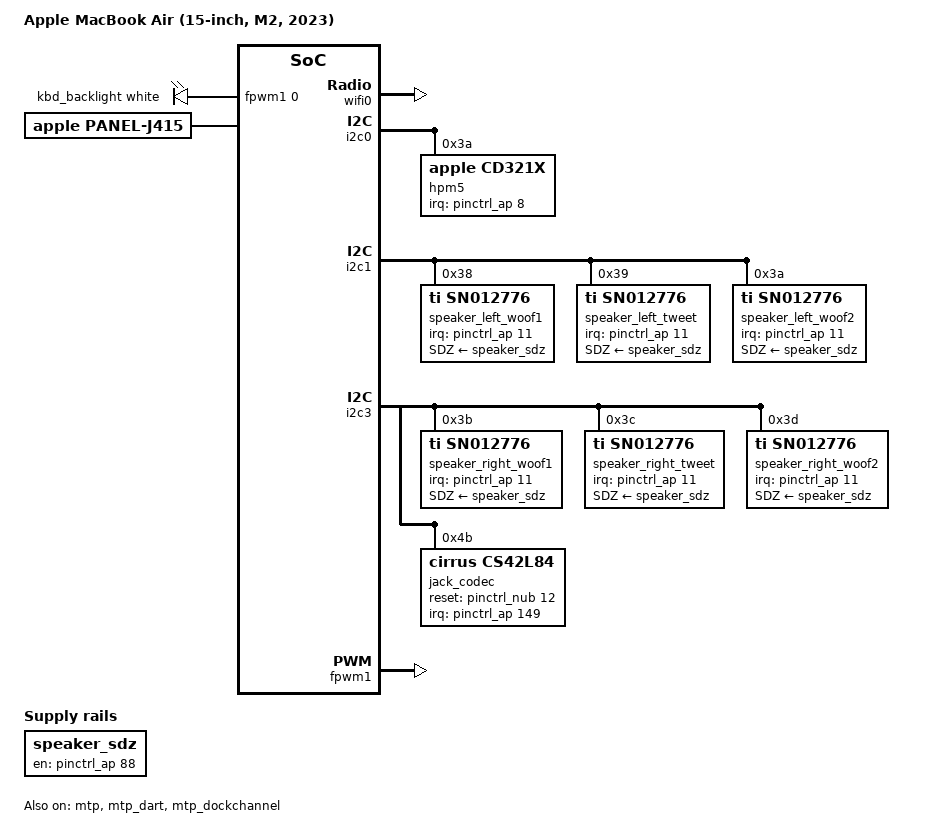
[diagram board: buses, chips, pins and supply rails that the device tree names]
// SPDX-License-Identifier: GPL-2.0+ OR MIT
/*
 * Apple MacBook Air (15-inchl, M2, 2023)
 *
 * target-type: J415
 *
 * Copyright The Asahi Linux Contributors
 */

/dts-v1/;

#include "t8112.dtsi"
#include "t8112-jxxx.dtsi"
#include <dt-bindings/leds/common.h>

/ {
	compatible = "apple,j415", "apple,t8112", "apple,arm-platform";
	model = "Apple MacBook Air (15-inch, M2, 2023)";

	aliases {
		bluetooth0 = &bluetooth0;
		wifi0 = &wifi0;
		keyboard = &keyboard;
	};

	led-controller {
		compatible = "pwm-leds";
		led-0 {
			pwms = <&fpwm1 0 40000>;
			label = "kbd_backlight";
			function = LED_FUNCTION_KBD_BACKLIGHT;
			color = <LED_COLOR_ID_WHITE>;
			max-brightness = <255>;
			default-state = "keep";
		};
	};
};

&dcp {
	panel: panel {
		compatible = "apple,panel-j415", "apple,panel";
		width-mm = <327>;
		height-mm = <211>;
		adj-height-mm = <204>;
		apple,max-brightness = <500>;
	};
};

&framebuffer0 {
	panel = &panel;
};

/*
 * Force the bus number assignments so that we can declare some of the
 * on-board devices and properties that are populated by the bootloader
 * (such as MAC addresses).
 */
&port00 {
	bus-range = <1 1>;
	pwren-gpios = <&smc_gpio 13 GPIO_ACTIVE_HIGH>;
	wifi0: wifi@0,0 {
		compatible = "pci14e4,4433";
		reg = <0x10000 0x0 0x0 0x0 0x0>;
		/* To be filled by the loader */
		local-mac-address = [00 10 18 00 00 10];
		apple,antenna-sku = "XX";
		brcm,board-type = "apple,snake";
	};

	bluetooth0: bluetooth@0,1 {
		compatible = "pci14e4,5f71";
		reg = <0x10100 0x0 0x0 0x0 0x0>;
		/* To be filled by the loader */
		local-bd-address = [00 00 00 00 00 00];
		brcm,board-type = "apple,snake";
	};
};

/*
 * Provide labels for the USB type C ports.
 */

&typec0 {
	label = "USB-C Left-back";
};

&typec1 {
	label = "USB-C Left-front";
};

&i2c0 {
	/* MagSafe port */
	hpm5: usb-pd@3a {
		compatible = "apple,cd321x";
		reg = <0x3a>;
		interrupt-parent = <&pinctrl_ap>;
		interrupts = <8 IRQ_TYPE_LEVEL_LOW>;
		interrupt-names = "irq";
	};
};

/* Virtual regulator representing the shared shutdown GPIO */
/ {
	speaker_sdz: fixed-regulator-sn012776-sdz {
		compatible = "regulator-fixed";
		regulator-name = "sn012776-sdz";
		startup-delay-us = <5000>;
		gpios = <&pinctrl_ap 88 GPIO_ACTIVE_HIGH>;
		enable-active-high;
	};
};

&i2c1 {
	speaker_left_woof1: codec@38 {
		compatible = "ti,sn012776", "ti,tas2764";
		reg = <0x38>;
		SDZ-supply = <&speaker_sdz>;
		#sound-dai-cells = <0>;
		sound-name-prefix = "Left Woofer 1";
		interrupts-extended = <&pinctrl_ap 11 IRQ_TYPE_LEVEL_LOW>;
		ti,imon-slot-no = <0>;
		ti,vmon-slot-no = <2>;
		ti,sdout-force-zero-mask = <0xf0f0f0>;
	};

	speaker_left_tweet: codec@39 {
		compatible = "ti,sn012776", "ti,tas2764";
		reg = <0x39>;
		SDZ-supply = <&speaker_sdz>;
		#sound-dai-cells = <0>;
		sound-name-prefix = "Left Tweeter";
		interrupts-extended = <&pinctrl_ap 11 IRQ_TYPE_LEVEL_LOW>;
		ti,imon-slot-no = <8>;
		ti,vmon-slot-no = <10>;
	};

	speaker_left_woof2: codec@3a {
		compatible = "ti,sn012776", "ti,tas2764";
		reg = <0x3a>;
		SDZ-supply = <&speaker_sdz>;
		#sound-dai-cells = <0>;
		sound-name-prefix = "Left Woofer 2";
		interrupts-extended = <&pinctrl_ap 11 IRQ_TYPE_LEVEL_LOW>;
		ti,imon-slot-no = <16>;
		ti,vmon-slot-no = <18>;
	};
};

&i2c3 {
	speaker_right_woof1: codec@3b {
		compatible = "ti,sn012776", "ti,tas2764";
		reg = <0x3b>;
		SDZ-supply = <&speaker_sdz>;
		#sound-dai-cells = <0>;
		sound-name-prefix = "Right Woofer 1";
		interrupts-extended = <&pinctrl_ap 11 IRQ_TYPE_LEVEL_LOW>;
		ti,imon-slot-no = <4>;
		ti,vmon-slot-no = <6>;
		ti,sdout-force-zero-mask = <0x0f0f0f>;
	};

	speaker_right_tweet: codec@3c {
		compatible = "ti,sn012776", "ti,tas2764";
		reg = <0x3c>;
		SDZ-supply = <&speaker_sdz>;
		#sound-dai-cells = <0>;
		sound-name-prefix = "Right Tweeter";
		interrupts-extended = <&pinctrl_ap 11 IRQ_TYPE_LEVEL_LOW>;
		ti,imon-slot-no = <12>;
		ti,vmon-slot-no = <14>;
	};

	speaker_right_woof2: codec@3d {
		compatible = "ti,sn012776", "ti,tas2764";
		reg = <0x3d>;
		SDZ-supply = <&speaker_sdz>;
		#sound-dai-cells = <0>;
		sound-name-prefix = "Right Woofer 2";
		interrupts-extended = <&pinctrl_ap 11 IRQ_TYPE_LEVEL_LOW>;
		ti,imon-slot-no = <20>;
		ti,vmon-slot-no = <22>;
	};

	jack_codec: codec@4b {
		compatible = "cirrus,cs42l84";
		reg = <0x4b>;
		reset-gpios = <&pinctrl_nub 12 GPIO_ACTIVE_HIGH>;
		#sound-dai-cells = <0>;
		interrupts-extended = <&pinctrl_ap 149 IRQ_TYPE_LEVEL_LOW>;
		sound-name-prefix = "Jack";
	};
};

&fpwm1 {
	status = "okay";
};

/ {
	sound {
		compatible = "apple,j415-macaudio", "apple,macaudio";
		model = "MacBook Air J415";

		dai-link@0 {
			link-name = "Speakers";

			cpu {
				sound-dai = <&mca 0>, <&mca 1>;
			};
			codec {
				sound-dai = <&speaker_left_woof1>,
					    <&speaker_left_tweet>,
					    <&speaker_left_woof2>,
					    <&speaker_right_woof1>,
					    <&speaker_right_tweet>,
					    <&speaker_right_woof2>;
			};
		};

		dai-link@1 {
			link-name = "Headphone Jack";

			cpu {
				sound-dai = <&mca 2>;
			};
			codec {
				sound-dai = <&jack_codec>;
			};
		};
	};
};

&mtp {
	status = "okay";
};
&mtp_mbox {
	status = "okay";
};
&mtp_dart {
	status = "okay";
};
&mtp_dockchannel {
	status = "okay";
};
&mtp_hid {
	apple,afe-reset-gpios = <&smc_gpio 8 GPIO_ACTIVE_LOW>;
	apple,stm-reset-gpios = <&smc_gpio 24 GPIO_ACTIVE_LOW>;

	multi-touch {
		firmware-name = "apple/tpmtfw-j415.bin";
	};

	keyboard: keyboard {
		hid-country-code = <0>;
		apple,keyboard-layout-id = <0>;
	};

	stm {
	};

	actuator {
	};

	tp_accel {
	};
};

#include "isp-imx558-cfg0.dtsi"

&isp {
	apple,platform-id = <15>;
	apple,temporal-filter = <1>;
};

#include "hwmon-laptop.dtsi"
